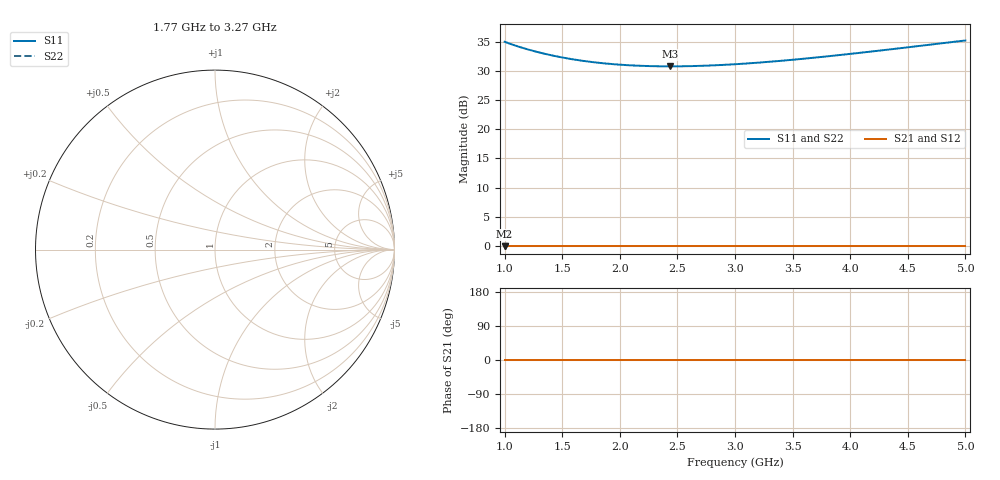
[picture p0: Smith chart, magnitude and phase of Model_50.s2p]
# GHZ S RI R 50
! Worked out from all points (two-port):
!   401 points, 1 GHz to 5 GHz, reference 50 ohm
!   highest |S21| = 0.00 dB at 1 GHz (marker M1); lowest = 0.0 dB at 1 GHz (marker M2)
!   |S21| within 3 dB of the highest: start of sweep to end of sweep
!   lowest |S11| = 30.8 dB at 2.44 GHz (marker M3)
!   |S11| at or under -10 dB: nowhere
!   |S22| runs from 30.8 to 35.2 dB; largest |S21 - S12| = 0
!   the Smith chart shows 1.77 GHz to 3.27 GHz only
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1  55.94 0  1 0  1 0  55.94 0
1.02  55.01 0  1 0  1 0  55.01 0
1.15  49.83 0  1 0  1 0  49.83 0
1.22  47.57 0  1 0  1 0  47.57 0
1.3  45.35 0  1 0  1 0  45.35 0
1.38  43.44 0  1 0  1 0  43.44 0
1.47  41.62 0  1 0  1 0  41.62 0
1.57  39.94 0  1 0  1 0  39.94 0
1.67  38.56 0  1 0  1 0  38.56 0
1.82  36.96 0  1 0  1 0  36.96 0
1.98  35.76 0  1 0  1 0  35.76 0
2.15  34.96 0  1 0  1 0  34.96 0
2.34  34.53 0  1 0  1 0  34.53 0
2.44  34.48 0  1 0  1 0  34.48 0
2.71  34.85 0  1 0  1 0  34.85 0
3  35.95 0  1 0  1 0  35.95 0
3.33  37.96 0  1 0  1 0  37.96 0
3.67  40.74 0  1 0  1 0  40.74 0
4  44.07 0  1 0  1 0  44.07 0
4.34  48.08 0  1 0  1 0  48.08 0
4.64  52.09 0  1 0  1 0  52.09 0
5  57.43 0  1 0  1 0  57.43 0
